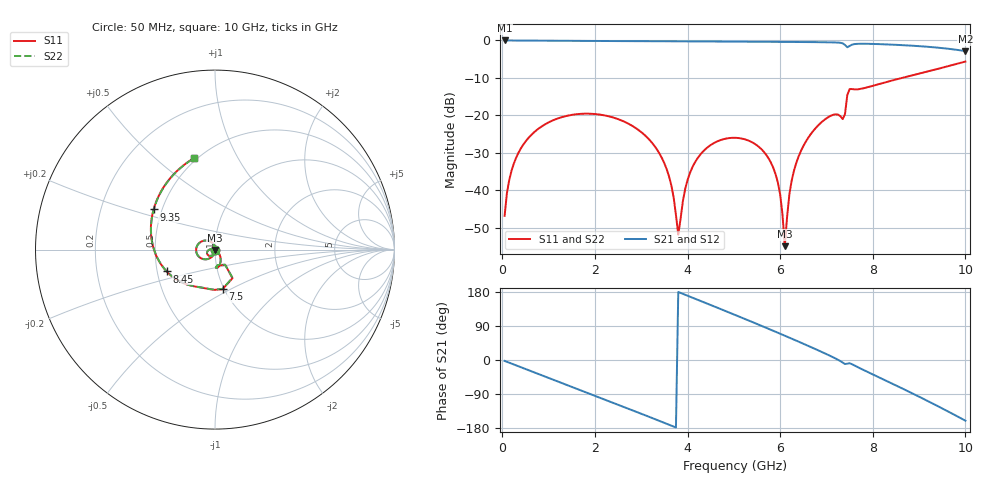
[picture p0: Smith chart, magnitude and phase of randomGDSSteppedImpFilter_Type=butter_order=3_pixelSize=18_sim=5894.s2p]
! freq	dB(S11)	phase(S11)	dB(S12)	phase(S12)
!  dB(S21)	phase(S21)	dB(S22)	phase(S22)
!S-par simulation data
#  GHz  S  DB  R 50
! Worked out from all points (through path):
!   200 points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, 50 MHz to 10 GHz, reference 50 ohm
!   highest |S21| = 0.00 dB at 50 MHz (marker M1); lowest = -2.8 dB at 10 GHz (marker M2)
!   group delay of S21, straight-line fit = 142 ps
!   lowest |S11| = -54.9 dB at 6.1 GHz (marker M3), VSWR 1.00, Z = 49.9 - j0.145 ohm
!   |S11| at or under -10 dB: start of sweep to 8.634 GHz
!   |S22| runs from -54.3 to -5.6 dB; largest |S21 - S12| = 0
!   S11 on the Smith chart (normalised r, x): 50 MHz: 1.00, -0.01; 7.5 GHz: 0.98, -0.46; 8.45 GHz: 0.56, -0.15; 9.35 GHz: 0.45, +0.24; 10 GHz: 0.48, +0.67
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0.05  -46.82 -91.4  -0.00 -2.4  -0.00 -2.4  -46.82 -91.4
0.2  -34.77 -99.1  -0.02 -9.5  -0.02 -9.5  -34.77 -99.1
0.5  -27.02 -113.9  -0.04 -23.7  -0.04 -23.7  -27.02 -113.9
1.75  -19.57 -173.7  -0.14 -82.5  -0.14 -82.5  -19.57 -173.7
2.55  -21.24 148.0  -0.17 -120.2  -0.17 -120.2  -21.24 148.0
3.4  -30.33 104.2  -0.20 -161.1  -0.20 -161.1  -30.33 104.5
3.65  -38.69 84.4  -0.22 -173.2  -0.22 -173.2  -38.70 85.2
3.8  -51.82 5.8  -0.23 179.5  -0.23 179.5  -52.38 6.6
3.95  -39.63 -83.9  -0.24 172.2  -0.24 172.2  -39.68 -84.8
4.15  -32.79 -101.4  -0.26 162.4  -0.26 162.4  -32.80 -101.8
5.05  -26.01 -149.3  -0.34 117.8  -0.34 117.8  -26.01 -149.4
5.85  -33.96 172.7  -0.38 77.2  -0.38 77.2  -33.96 172.9
6  -41.12 170.5  -0.38 69.4  -0.38 69.4  -41.09 171.3
6.1  -54.94 -125.6  -0.39 64.2  -0.39 64.2  -54.29 -124.8
6.3  -34.71 -39.8  -0.40 53.6  -0.40 53.6  -34.70 -40.6
6.7  -24.38 -58.1  -0.44 32.2  -0.44 32.2  -24.38 -58.7
7.35  -21.00 -78.8  -0.77 -6.8  -0.77 -6.8  -21.15 -80.1
7.5  -12.98 -79.3  -1.46 -8.5  -1.46 -8.5  -13.04 -78.9
8.35  -10.92 -149.5  -1.08 -58.3  -1.08 -58.3  -10.92 -149.8
8.45  -10.59 -155.7  -1.14 -64.1  -1.14 -64.1  -10.59 -156.0
9.35  -7.77 146.8  -1.86 -118.4  -1.86 -118.4  -7.77 146.4
10  -5.64 103.1  -2.85 -160.1  -2.85 -160.1  -5.64 102.8
